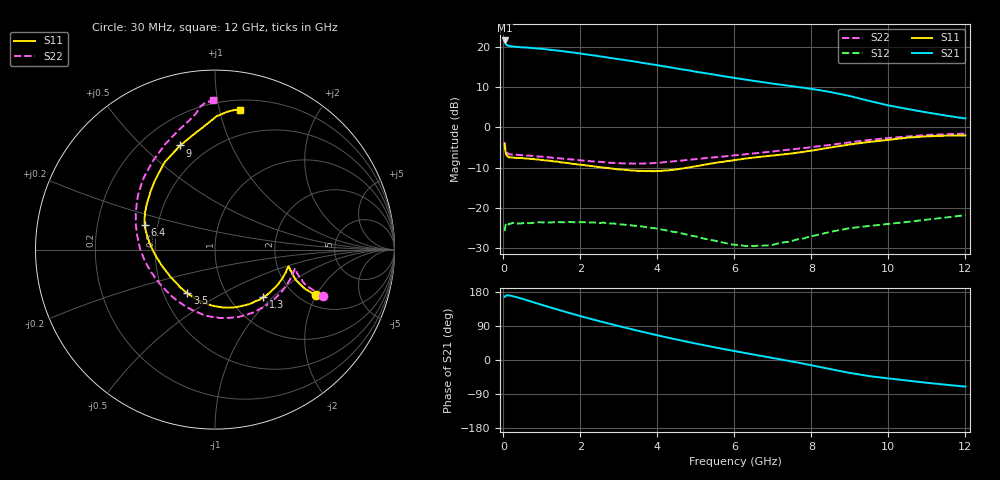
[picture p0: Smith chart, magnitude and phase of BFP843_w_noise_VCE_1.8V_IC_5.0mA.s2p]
! Infineon Technologies  Discrete & RF Semiconductors
! BFP843
! VCE =  1.8 V,  IC =  5.0 mA
! Common Emitter S-Parameters:  Aug 2013
# GHz  S  MA  R  50
!  f  S11  S21  S12  S22
! GHz  MAG  ANG  MAG  ANG  MAG  ANG  MAG  ANG
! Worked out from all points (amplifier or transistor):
!   103 points, 30 MHz to 12 GHz, reference 50 ohm
!   highest |S21| = 21.5 dB at 30 MHz (marker M1)
!   |S21| within 3 dB of that: start of sweep to 1.814 GHz
!   unconditionally stable (mu >= 1): 160 MHz to 993.7 MHz; 1.02 GHz to 1.174 GHz; 2.008 GHz to 10.93 GHz (the widest 3 of 4)
!   at 400 MHz: K = 1.01, MAG = 21.2 dB, |S12| = -23.9 dB
!   at 3.7 GHz: K = 1.23, MAG = 17.4 dB, |S12| = -24.8 dB
!   at 12 GHz: K = 0.82, MSG = 12.0 dB, |S12| = -21.8 dB
!   lowest NFmin = 0.94 dB at 450 MHz
!   S11 on the Smith chart (normalised r, x): 30 MHz: 2.42, -1.97; 1.3 GHz: 1.42, -0.87; 3.5 GHz: 0.66, -0.35; 6.4 GHz: 0.42, +0.14; 9 GHz: 0.35, +0.66; 12 GHz: 0.28, +1.16
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0.03  0.6154 -24.3  11.94 166.7  0.0514 34.1  0.6558 -23.1
0.04  0.5481 -23.6  11.36 167.2  0.0562 26.4  0.5892 -22.4
0.05  0.5152 -22.3  10.99 169.2  0.0588 24.3  0.5465 -21.5
0.07  0.4637 -18.8  10.56 170.0  0.0611 14.9  0.5037 -17.9
0.13  0.4304 -14.2  10.31 170.8  0.0628 8.6  0.4666 -14.1
0.7  0.4051 -25.2  9.66 154.9  0.0645 -1.0  0.4429 -28.9
1  0.3912 -34.9  9.406 145.4  0.066 -3.0  0.4306 -40.1
1.3  0.3768 -44.7  9.058 136.2  0.0662 -5.2  0.4162 -51.7
1.7  0.3578 -58.4  8.585 124.4  0.0667 -8.5  0.4004 -66.9
2.1  0.3385 -72.2  8.07 113.1  0.0662 -11.9  0.384 -82.1
2.6  0.3157 -89.7  7.475 99.7  0.0656 -16.8  0.3691 -100.1
3.5  0.2875 -122.4  6.434 77.0  0.0597 -24.8  0.3544 -132.6
4.1  0.2871 -144.3  5.769 62.9  0.0539 -28.0  0.364 -152.2
4.5  0.3002 -157.9  5.362 54.0  0.0498 -29.7  0.38 -162.8
5.1  0.3339 -175.1  4.807 41.3  0.0429 -30.7  0.4064 -176.3
6.1  0.3967 165.7  4.024 21.8  0.0346 -20.4  0.452 165.6
6.4  0.4143 160.6  3.833 16.2  0.0339 -14.3  0.4687 160.6
7.5  0.4733 140.5  3.229 -4.0  0.0388 2.4  0.532 142.8
8.5  0.5609 120.2  2.732 -24.2  0.0504 5.5  0.6044 124.7
9  0.6118 108.5  2.437 -34.2  0.0559 3.7  0.6501 115.2
10.5  0.7431 89.3  1.683 -54.4  0.0668 -2.5  0.7677 97.8
12  0.7911 79.8  1.285 -70.2  0.081 -10.2  0.8317 90.8
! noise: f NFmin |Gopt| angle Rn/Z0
0.45  0.94  0.18  8  0.01
0.9  0.95  0.19  17  0.03
1.5  0.98  0.18  28  0.1
1.9  1.01  0.16  40  0.18
2.4  1.06  0.14  49  0.26
3.5  1.14  0.11  64  0.3
5.5  1.29  0.13  -156  0.38
10  2.08  0.51  -74  0.44
